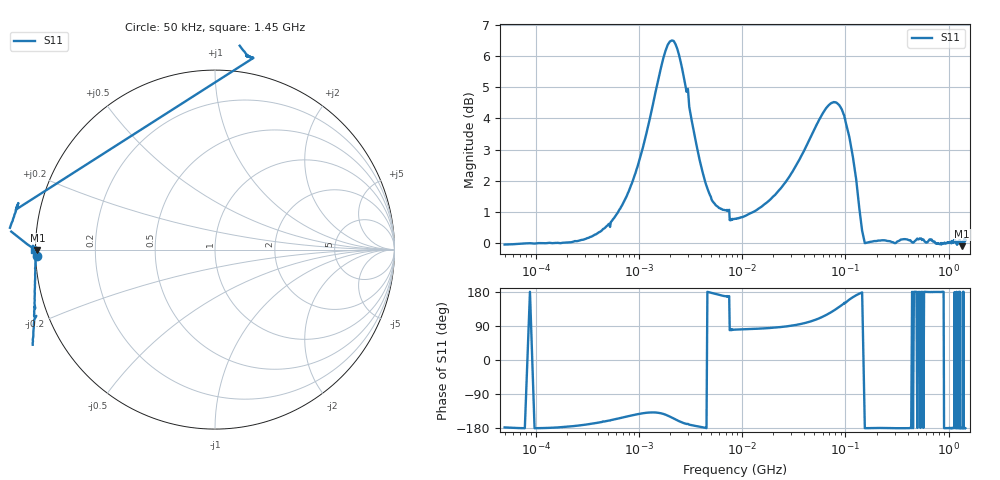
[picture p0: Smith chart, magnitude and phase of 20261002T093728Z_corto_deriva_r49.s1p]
! piloto_deriva / corto_deriva / r49
# HZ S RI R 50
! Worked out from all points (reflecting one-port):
!   501 points, 50 kHz to 1.45 GHz, reference 50 ohm
!   lowest |S11| = -0.1 dB at 1.351 GHz (marker M1), VSWR 180.22, Z = 0.277 - j0.0704 ohm
!   phase of S11 starts at -178 deg and turns -2 deg over the sweep
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50000  -0.9942 -0.0362
183000  -1 -0.0522
373000  -1.005 -0.2343
658000  -1.014 -0.511
1180000  -1.136 -0.9782
1630000  -1.474 -1.211
1990000  -1.81 -1.074
2170000  -1.901 -0.9134
2440000  -1.9 -0.6407
3250000  -1.555 -0.2127
4330000  -1.262 -0.0307
7300000  -1.101 0.2428
7750000  0.2125 1.067
8560000  0.1868 1.078
1.9e7  0.1086 1.173
3.16e7  -0.0353 1.312
4.69e7  -0.3234 1.453
6.76e7  -0.8588 1.418
8.02e7  -1.158 1.22
9.55e7  -1.368 0.8522
9.82e7  -1.365 0.8046
1e8  -1.372 0.7581
1.18e8  -1.332 0.3385
1.36e8  -1.135 0.1003
1.63e8  -1.002 -0.00402
4.06e8  -1.012 -0.00455
1.351e9  -0.989 -0.00279
1.45e9  -1.01 -0.00129
